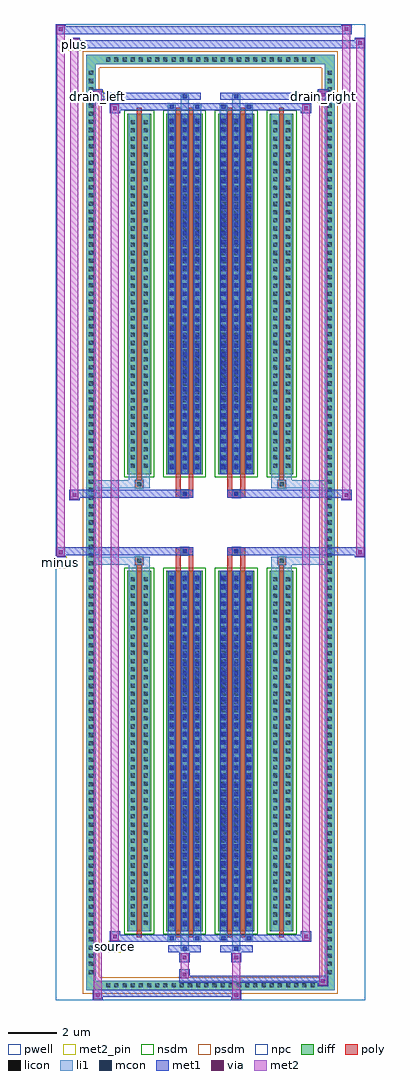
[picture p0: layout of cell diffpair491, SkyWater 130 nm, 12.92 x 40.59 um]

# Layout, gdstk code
import gdstk
lib = gdstk.Library(unit=1e-6, precision=5e-09)
def R(c, l, rs):  # rectangles x0, y0, x1, y1
    for r in rs: c.add(gdstk.rectangle(r[:2], r[2:], *l))
def A(c, l, x, y, w, h, nx, ny, dx, dy):  # array of equal rectangles
    R(c, l, [(x+i*dx, y+j*dy, x+i*dx+w, y+j*dy+h) for i in range(nx) for j in range(ny)])
def P(c, l, *ps):  # polygons
    for p in ps: c.add(gdstk.Polygon(p, *l))
pwell = (64, 44)
diff = (65, 20)
poly = (66, 20)
licon = (66, 44)
li1 = (67, 20)
mcon = (67, 44)
met1 = (68, 20)
via = (68, 44)
met2_pin = (69, 16)
met2 = (69, 20)
nsdm = (93, 44)
psdm = (94, 20)
npc = (95, 20)

diffpair491 = lib.new_cell('diffpair491')
R(diffpair491, pwell, [(-6.44,-19.86,6.44,20.73), (-3.76,-18.05,-0.01,-0.825), (0.01,-18.05,3.76,-0.825), (-3.76,0.825,-0.01,18.05), (0.01,0.825,3.76,18.05)])
A(diffpair491, diff, -4.455, -19.46, 0.41, 0.41, 26, 2, 0.34, 38.51)
A(diffpair491, diff, -5.17, -18.905, 0.41, 0.41, 1, 111, 0, 0.34)
A(diffpair491, diff, 4.76, -18.905, 0.41, 0.41, 1, 111, 0, 0.34)
R(diffpair491, diff, [(-4.455,-19.46,4.455,-19.05), (-5.17,-18.905,-4.76,18.905), (4.76,-18.905,5.17,18.905), (-3.45,-17.005,-2.47,-2.005), (-1.83,-17.005,-0.32,-2.005), (0.32,-17.005,1.83,-2.005), (2.47,-17.005,3.45,-2.005), (-3.45,2.005,-2.47,17.005), (-1.83,2.005,-0.32,17.005), (0.32,2.005,1.83,17.005), (2.47,2.005,3.45,17.005), (-4.455,19.05,4.455,19.46)])
P(diffpair491, diff, [(5.17,19.46),(-5.17,19.46),(-5.17,-19.05),(-4.76,-19.05),(-4.76,19.05),(4.76,19.05),(4.76,-19.05),(-4.76,-19.05),(-5.17,-19.05),(-5.17,-19.46),(5.17,-19.46)])
R(diffpair491, poly, [(-3.06,-17.255,-2.86,-1.755), (-1.44,-17.255,-1.24,-1.755), (-0.91,-17.255,-0.71,-1.755), (0.71,-17.255,0.91,-1.755), (1.24,-17.255,1.44,-1.755), (2.86,-17.255,3.06,-1.755), (-3.125,-1.755,-2.795,-1.425), (-3.125,-1.755,-2.795,-1.425), (-1.44,-1.755,-1.24,-1.355), (-0.91,-1.755,-0.71,-1.355), (0.71,-1.755,0.91,-1.355), (1.24,-1.755,1.44,-1.355), (2.795,-1.755,3.125,-1.425), (2.795,-1.755,3.125,-1.425), (-1.44,-1.355,-0.71,-1.025), (-1.24,-1.355,-0.91,-1.025), (0.71,-1.355,1.44,-1.025), (0.91,-1.355,1.24,-1.025), (-1.44,1.025,-0.71,1.355), (-1.24,1.025,-0.91,1.355), (0.71,1.025,1.44,1.355), (0.91,1.025,1.24,1.355), (-1.44,1.355,-1.24,1.755), (-0.91,1.355,-0.71,1.755), (0.71,1.355,0.91,1.755), (1.24,1.355,1.44,1.755), (-3.125,1.425,-2.795,1.755), (-3.125,1.425,-2.795,1.755), (2.795,1.425,3.125,1.755), (2.795,1.425,3.125,1.755), (-3.06,1.755,-2.86,17.255), (-1.44,1.755,-1.24,17.255), (-0.91,1.755,-0.71,17.255), (0.71,1.755,0.91,17.255), (1.24,1.755,1.44,17.255), (2.86,1.755,3.06,17.255)])
A(diffpair491, licon, -4.335, -19.34, 0.17, 0.17, 26, 2, 0.34, 38.51)
A(diffpair491, licon, -5.05, -18.785, 0.17, 0.17, 1, 111, 0, 0.34)
A(diffpair491, licon, 4.88, -18.785, 0.17, 0.17, 1, 111, 0, 0.34)
A(diffpair491, licon, -3.31, -16.73, 0.17, 0.17, 1, 43, 0, 0.34)
A(diffpair491, licon, -2.78, -16.73, 0.17, 0.17, 1, 43, 0, 0.34)
A(diffpair491, licon, -1.69, -16.73, 0.17, 0.17, 3, 43, 0.53, 0.34)
A(diffpair491, licon, 0.46, -16.73, 0.17, 0.17, 3, 43, 0.53, 0.34)
A(diffpair491, licon, 2.61, -16.73, 0.17, 0.17, 1, 43, 0, 0.34)
A(diffpair491, licon, 3.14, -16.73, 0.17, 0.17, 1, 43, 0, 0.34)
A(diffpair491, licon, -3.31, 2.28, 0.17, 0.17, 1, 43, 0, 0.34)
A(diffpair491, licon, -2.78, 2.28, 0.17, 0.17, 1, 43, 0, 0.34)
A(diffpair491, licon, -1.69, 2.28, 0.17, 0.17, 3, 43, 0.53, 0.34)
A(diffpair491, licon, 0.46, 2.28, 0.17, 0.17, 3, 43, 0.53, 0.34)
A(diffpair491, licon, 2.61, 2.28, 0.17, 0.17, 1, 43, 0, 0.34)
A(diffpair491, licon, 3.14, 2.28, 0.17, 0.17, 1, 43, 0, 0.34)
R(diffpair491, licon, [(-3.045,-1.675,-2.875,-1.505), (2.875,-1.675,3.045,-1.505), (-1.16,-1.275,-0.99,-1.105), (0.99,-1.275,1.16,-1.105), (-1.16,1.105,-0.99,1.275), (0.99,1.105,1.16,1.275), (-3.045,1.505,-2.875,1.675), (2.875,1.505,3.045,1.675)])
A(diffpair491, li1, -4.415, -19.42, 0.33, 0.33, 26, 2, 0.34, 38.51)
A(diffpair491, li1, -5.13, -18.865, 0.33, 0.33, 1, 111, 0, 0.34)
A(diffpair491, li1, 4.8, -18.865, 0.33, 0.33, 1, 111, 0, 0.34)
A(diffpair491, li1, -1.77, -17.005, 0.33, 15, 3, 2, 0.53, 19.01)
A(diffpair491, li1, 0.38, -17.005, 0.33, 15, 3, 2, 0.53, 19.01)
A(diffpair491, li1, -3.39, -16.81, 0.33, 0.33, 1, 43, 0, 0.34)
A(diffpair491, li1, -2.86, -16.81, 0.33, 0.33, 1, 43, 0, 0.34)
A(diffpair491, li1, -1.77, -16.81, 0.33, 0.33, 3, 43, 0.53, 0.34)
A(diffpair491, li1, 0.38, -16.81, 0.33, 0.33, 3, 43, 0.53, 0.34)
A(diffpair491, li1, 2.53, -16.81, 0.33, 0.33, 1, 43, 0, 0.34)
A(diffpair491, li1, 3.06, -16.81, 0.33, 0.33, 1, 43, 0, 0.34)
A(diffpair491, li1, -1.69, -16.79, 0.17, 0.17, 3, 41, 0.53, 0.36)
A(diffpair491, li1, -1.69, -16.79, 0.17, 14.57, 3, 2, 0.53, 19.01)
A(diffpair491, li1, 0.46, -16.79, 0.17, 0.17, 3, 41, 0.53, 0.36)
A(diffpair491, li1, 0.46, -16.79, 0.17, 14.57, 3, 2, 0.53, 19.01)
A(diffpair491, li1, -3.39, 2.2, 0.33, 0.33, 1, 43, 0, 0.34)
A(diffpair491, li1, -2.86, 2.2, 0.33, 0.33, 1, 43, 0, 0.34)
A(diffpair491, li1, -1.77, 2.2, 0.33, 0.33, 3, 43, 0.53, 0.34)
A(diffpair491, li1, 0.38, 2.2, 0.33, 0.33, 3, 43, 0.53, 0.34)
A(diffpair491, li1, 2.53, 2.2, 0.33, 0.33, 1, 43, 0, 0.34)
A(diffpair491, li1, 3.06, 2.2, 0.33, 0.33, 1, 43, 0, 0.34)
A(diffpair491, li1, -1.69, 2.22, 0.17, 0.17, 3, 41, 0.53, 0.36)
A(diffpair491, li1, 0.46, 2.22, 0.17, 0.17, 3, 41, 0.53, 0.36)
R(diffpair491, li1, [(-5.17,-19.46,-4.76,-19.05), (-5.17,-19.46,-4.76,-19.05), (-4.76,-19.46,4.76,-19.05), (4.76,-19.46,5.17,-19.05), (4.76,-19.46,5.17,-19.05), (-5.17,-19.05,-4.76,19.05), (4.76,-19.05,5.17,19.05), (-1.24,-17.81,-0.91,-17.005), (-1.16,-17.81,-0.99,-17.64), (0.91,-17.81,1.24,-17.005), (0.99,-17.81,1.16,-17.64), (-1.77,-17.38,-1.44,-17.005), (-1.69,-17.38,-1.52,-17.21), (-0.71,-17.38,-0.38,-17.005), (-0.63,-17.38,-0.46,-17.21), (0.38,-17.38,0.71,-17.005), (0.46,-17.38,0.63,-17.21), (1.44,-17.38,1.77,-17.005), (1.52,-17.38,1.69,-17.21), (-3.39,-17.005,-3.06,-2.005), (-2.86,-17.005,-2.53,-2.005), (2.53,-17.005,2.86,-2.005), (3.06,-17.005,3.39,-2.005), (-3.39,-2.005,-3.06,-1.425), (-2.86,-2.005,-2.53,-1.425), (2.53,-2.005,2.86,-1.425), (3.06,-2.005,3.39,-1.425), (-5.17,-1.755,-3.125,-1.425), (-3.39,-1.755,-3.125,-1.425), (-3.125,-1.755,-2.795,-1.425), (-2.795,-1.755,-2.53,-1.425), (2.53,-1.755,2.795,-1.425), (2.795,-1.755,3.125,-1.425), (2.795,-1.755,5.17,-1.425), (3.125,-1.755,3.39,-1.425), (-1.24,-1.355,-0.91,-1.025), (0.91,-1.355,1.24,-1.025), (-1.24,1.025,-0.91,1.355), (0.91,1.025,1.24,1.355), (-5.17,1.425,-3.125,1.755), (-3.39,1.425,-3.125,1.755), (-3.39,1.425,-3.06,2.005), (-3.125,1.425,-2.795,1.755), (-2.86,1.425,-2.53,2.005), (-2.795,1.425,-2.53,1.755), (2.53,1.425,2.795,1.755), (2.53,1.425,2.86,2.005), (2.795,1.425,3.125,1.755), (2.795,1.425,5.17,1.755), (3.06,1.425,3.39,2.005), (3.125,1.425,3.39,1.755), (-3.39,2.005,-3.06,17.005), (-2.86,2.005,-2.53,17.005), (2.53,2.005,2.86,17.005), (3.06,2.005,3.39,17.005), (-1.77,17.005,-1.44,17.38), (-1.24,17.005,-0.91,17.81), (-0.71,17.005,-0.38,17.38), (0.38,17.005,0.71,17.38), (0.91,17.005,1.24,17.81), (1.44,17.005,1.77,17.38), (-1.69,17.21,-1.52,17.38), (-0.63,17.21,-0.46,17.38), (0.46,17.21,0.63,17.38), (1.52,17.21,1.69,17.38), (-1.16,17.64,-0.99,17.81), (0.99,17.64,1.16,17.81), (-5.17,19.05,-4.76,19.46), (-5.17,19.05,-4.76,19.46), (-4.76,19.05,4.76,19.46), (4.76,19.05,5.17,19.46), (4.76,19.05,5.17,19.46)])
A(diffpair491, mcon, -1.69, -16.79, 0.17, 0.17, 3, 41, 0.53, 0.36)
A(diffpair491, mcon, 0.46, -16.79, 0.17, 0.17, 3, 41, 0.53, 0.36)
A(diffpair491, mcon, -1.69, 2.22, 0.17, 0.17, 3, 41, 0.53, 0.36)
A(diffpair491, mcon, 0.46, 2.22, 0.17, 0.17, 3, 41, 0.53, 0.36)
R(diffpair491, mcon, [(-1.16,-17.81,-0.99,-17.64), (0.99,-17.81,1.16,-17.64), (-1.69,-17.38,-1.52,-17.21), (-0.63,-17.38,-0.46,-17.21), (0.46,-17.38,0.63,-17.21), (1.52,-17.38,1.69,-17.21), (-1.16,-1.275,-0.99,-1.105), (0.99,-1.275,1.16,-1.105), (-1.16,1.105,-0.99,1.275), (0.99,1.105,1.16,1.275), (-1.69,17.21,-1.52,17.38), (-0.63,17.21,-0.46,17.38), (0.46,17.21,0.63,17.38), (1.52,17.21,1.69,17.38), (-1.16,17.64,-0.99,17.81), (0.99,17.64,1.16,17.81)])
A(diffpair491, met1, -1.75, -17.005, 0.29, 15, 3, 2, 0.53, 19.01)
A(diffpair491, met1, 0.4, -17.005, 0.29, 15, 3, 2, 0.53, 19.01)
A(diffpair491, met1, -1.75, -16.85, 0.29, 0.29, 3, 41, 0.53, 0.36)
A(diffpair491, met1, 0.4, -16.85, 0.29, 0.29, 3, 41, 0.53, 0.36)
A(diffpair491, met1, -1.75, 2.16, 0.29, 0.29, 3, 41, 0.53, 0.36)
A(diffpair491, met1, 0.4, 2.16, 0.29, 0.29, 3, 41, 0.53, 0.36)
R(diffpair491, met1, [(-4.9,-19.86,-4.47,-19.43), (0.86,-19.86,1.29,-19.43), (-4.9,-19.72,1.29,-19.43), (4.47,-19.29,4.9,-18.86), (-1.29,-19.15,4.9,-18.86), (-1.29,-19.01,-0.86,-18.58), (-1.29,-18.3,-0.86,-17.87), (0.86,-18.3,1.29,-17.87), (-1.75,-17.87,-0.4,-17.58), (-1.22,-17.87,-0.93,-17.58), (0.4,-17.87,1.75,-17.58), (0.93,-17.87,1.22,-17.58), (-4.19,-17.44,-3.76,-17.01), (-4.19,-17.44,-1.75,-17.15), (-1.75,-17.44,-1.46,-17.15), (-1.75,-17.44,-0.4,-17.15), (-0.69,-17.44,-0.4,-17.15), (-0.4,-17.44,0.4,-17.15), (0.4,-17.44,0.69,-17.15), (0.4,-17.44,1.75,-17.15), (1.46,-17.44,1.75,-17.15), (1.75,-17.44,4.19,-17.15), (3.76,-17.44,4.19,-17.01), (-6.44,-1.455,-6.01,-1.025), (6.01,-1.455,6.44,-1.025), (-6.44,-1.355,-0.71,-1.025), (-1.44,-1.355,-0.71,-1.025), (0.71,-1.355,1.44,-1.025), (0.71,-1.355,6.44,-1.025), (-1.22,-1.335,-0.93,-1.045), (0.93,-1.335,1.22,-1.045), (-5.87,0.925,-5.44,1.355), (5.44,0.925,5.87,1.355), (-5.87,1.025,-1.44,1.355), (-1.44,1.025,-0.71,1.355), (0.71,1.025,1.44,1.355), (1.44,1.025,5.87,1.355), (-1.22,1.045,-0.93,1.335), (0.93,1.045,1.22,1.335), (-4.19,17.01,-3.76,17.44), (3.76,17.01,4.19,17.44), (-4.19,17.15,-1.75,17.44), (-1.75,17.15,-1.46,17.44), (-1.75,17.15,-0.4,17.44), (-0.69,17.15,-0.4,17.44), (-0.4,17.15,0.4,17.44), (0.4,17.15,0.69,17.44), (0.4,17.15,1.75,17.44), (1.46,17.15,1.75,17.44), (1.75,17.15,4.19,17.44), (-4.9,17.58,-4.47,18.01), (-4.9,17.58,-1.75,17.87), (-1.75,17.58,-0.4,17.87), (-1.22,17.58,-0.93,17.87), (0.4,17.58,1.75,17.87), (0.93,17.58,1.22,17.87), (1.75,17.58,4.9,17.87), (4.47,17.58,4.9,18.01), (-5.87,19.73,-5.44,20.16), (-5.87,19.73,-3.76,20.06), (-3.76,19.73,3.76,20.06), (3.76,19.73,6.44,20.06), (6.01,19.73,6.44,20.16), (-6.44,20.3,-6.01,20.73), (-6.44,20.3,-3.76,20.63), (-3.76,20.3,3.76,20.63), (3.76,20.3,5.87,20.63), (5.44,20.3,5.87,20.73)])
R(diffpair491, via, [(-4.76,-19.72,-4.61,-19.57), (1,-19.72,1.15,-19.57), (4.61,-19.15,4.76,-19), (-1.15,-18.87,-1,-18.72), (-1.15,-18.16,-1,-18.01), (1,-18.16,1.15,-18.01), (-4.05,-17.3,-3.9,-17.15), (3.9,-17.3,4.05,-17.15), (-6.3,-1.315,-6.15,-1.165), (6.15,-1.315,6.3,-1.165), (-5.73,1.065,-5.58,1.215), (5.58,1.065,5.73,1.215), (-4.05,17.15,-3.9,17.3), (3.9,17.15,4.05,17.3), (-4.76,17.72,-4.61,17.87), (4.61,17.72,4.76,17.87), (-5.73,19.87,-5.58,20.02), (6.15,19.87,6.3,20.02), (-6.3,20.44,-6.15,20.59), (5.58,20.44,5.73,20.59)])
R(diffpair491, met2_pin, [(-4.225,-17.89,-3.725,-17.39), (-6.475,-1.905,-5.975,-1.405), (-4.935,17.46,-4.435,17.96), (4.435,17.46,4.935,17.96), (-5.905,19.61,-5.405,20.11)])
R(diffpair491, met2, [(-4.85,-19.81,-4.52,-19.48), (-4.85,-19.81,-4.52,17.96), (0.91,-19.81,1.24,-19.48), (0.91,-19.48,1.24,-18.25), (4.52,-19.24,4.85,-18.91), (4.52,-19.24,4.85,17.96), (-1.24,-18.96,-0.91,-18.63), (-1.24,-18.63,-0.91,-18.25), (-1.24,-18.25,-0.91,-17.92), (0.91,-18.25,1.24,-17.92), (-4.14,-17.39,-3.81,-17.06), (-4.14,-17.39,-3.81,17.39), (3.81,-17.39,4.14,-17.06), (3.81,-17.39,4.14,17.39), (-6.39,-1.405,-6.06,-1.075), (-6.39,-1.405,-6.06,20.68), (6.06,-1.405,6.39,-1.075), (6.06,-1.405,6.39,20.11), (-5.82,0.975,-5.49,1.305), (-5.82,0.975,-5.49,20.11), (5.49,0.975,5.82,1.305), (5.49,0.975,5.82,20.68), (-4.14,17.06,-3.81,17.39), (3.81,17.06,4.14,17.39), (-4.85,17.63,-4.52,17.96), (4.52,17.63,4.85,17.96), (-5.82,19.78,-5.49,20.11), (6.06,19.78,6.39,20.11), (-6.39,20.35,-6.06,20.68), (5.49,20.35,5.82,20.68)])
P(diffpair491, met2, [(6.39,-1.405),(6.39,-1.405),(6.39,-1.075),(6.39,-1.075)],
  [(6.39,19.78),(6.39,19.78),(6.39,20.11),(6.39,20.11)],
  [(-6.06,-1.405),(-6.06,-1.405),(-6.06,-1.075),(-6.06,-1.075)],
  [(-6.06,20.35),(-6.06,20.35),(-6.06,20.68),(-6.06,20.68)],
  [(5.82,0.975),(5.82,0.975),(5.82,1.305),(5.82,1.305)],
  [(5.82,20.35),(5.82,20.35),(5.82,20.68),(5.82,20.68)],
  [(-5.49,0.975),(-5.49,0.975),(-5.49,1.305),(-5.49,1.305)],
  [(-5.49,19.78),(-5.49,19.78),(-5.49,20.11),(-5.49,20.11)],
  [(-4.52,-19.81),(-4.52,-19.81),(-4.52,-19.48),(-4.52,-19.48)],
  [(-4.52,17.63),(-4.52,17.63),(-4.52,17.96),(-4.52,17.96)],
  [(4.85,-19.24),(4.85,-19.24),(4.85,-18.91),(4.85,-18.91)],
  [(4.85,17.63),(4.85,17.63),(4.85,17.96),(4.85,17.96)],
  [(-3.81,-17.39),(-3.81,-17.39),(-3.81,-17.06),(-3.81,-17.06)],
  [(-3.81,17.06),(-3.81,17.06),(-3.81,17.39),(-3.81,17.39)],
  [(4.14,-17.39),(4.14,-17.39),(4.14,-17.06),(4.14,-17.06)],
  [(4.14,17.06),(4.14,17.06),(4.14,17.39),(4.14,17.39)])
R(diffpair491, nsdm, [(-3.58,-17.135,-2.34,-1.875), (-1.96,-17.135,-0.19,-1.875), (0.19,-17.135,1.96,-1.875), (2.34,-17.135,3.58,-1.875), (-3.58,1.875,-2.34,17.135), (-1.96,1.875,-0.19,17.135), (0.19,1.875,1.96,17.135), (2.34,1.875,3.58,17.135)])
P(diffpair491, psdm, [(5.3,19.59),(-5.3,19.59),(-5.3,-18.92),(-4.63,-18.92),(-4.63,18.92),(4.63,18.92),(4.63,-18.92),(-4.63,-18.92),(-5.3,-18.92),(-5.3,-19.59),(5.3,-19.59)])
R(diffpair491, npc, [(-3.145,-1.775,-2.775,-1.405), (2.775,-1.775,3.145,-1.405), (-1.26,-1.375,-0.89,-1.005), (0.89,-1.375,1.26,-1.005), (-1.26,1.005,-0.89,1.375), (0.89,1.005,1.26,1.375), (-3.145,1.405,-2.775,1.775), (2.775,1.405,3.145,1.775)])
diffpair491.add(gdstk.Label('minus', (-6.225,-1.655), layer=69, texttype=5))
diffpair491.add(gdstk.Label('drain_right', (4.685,17.71), layer=69, texttype=5))
diffpair491.add(gdstk.Label('drain_left', (-4.685,17.71), layer=69, texttype=5))
diffpair491.add(gdstk.Label('source', (-3.975,-17.64), layer=69, texttype=5))
diffpair491.add(gdstk.Label('plus', (-5.655,19.86), layer=69, texttype=5))

lib.write_gds('diffpair491.gds')
